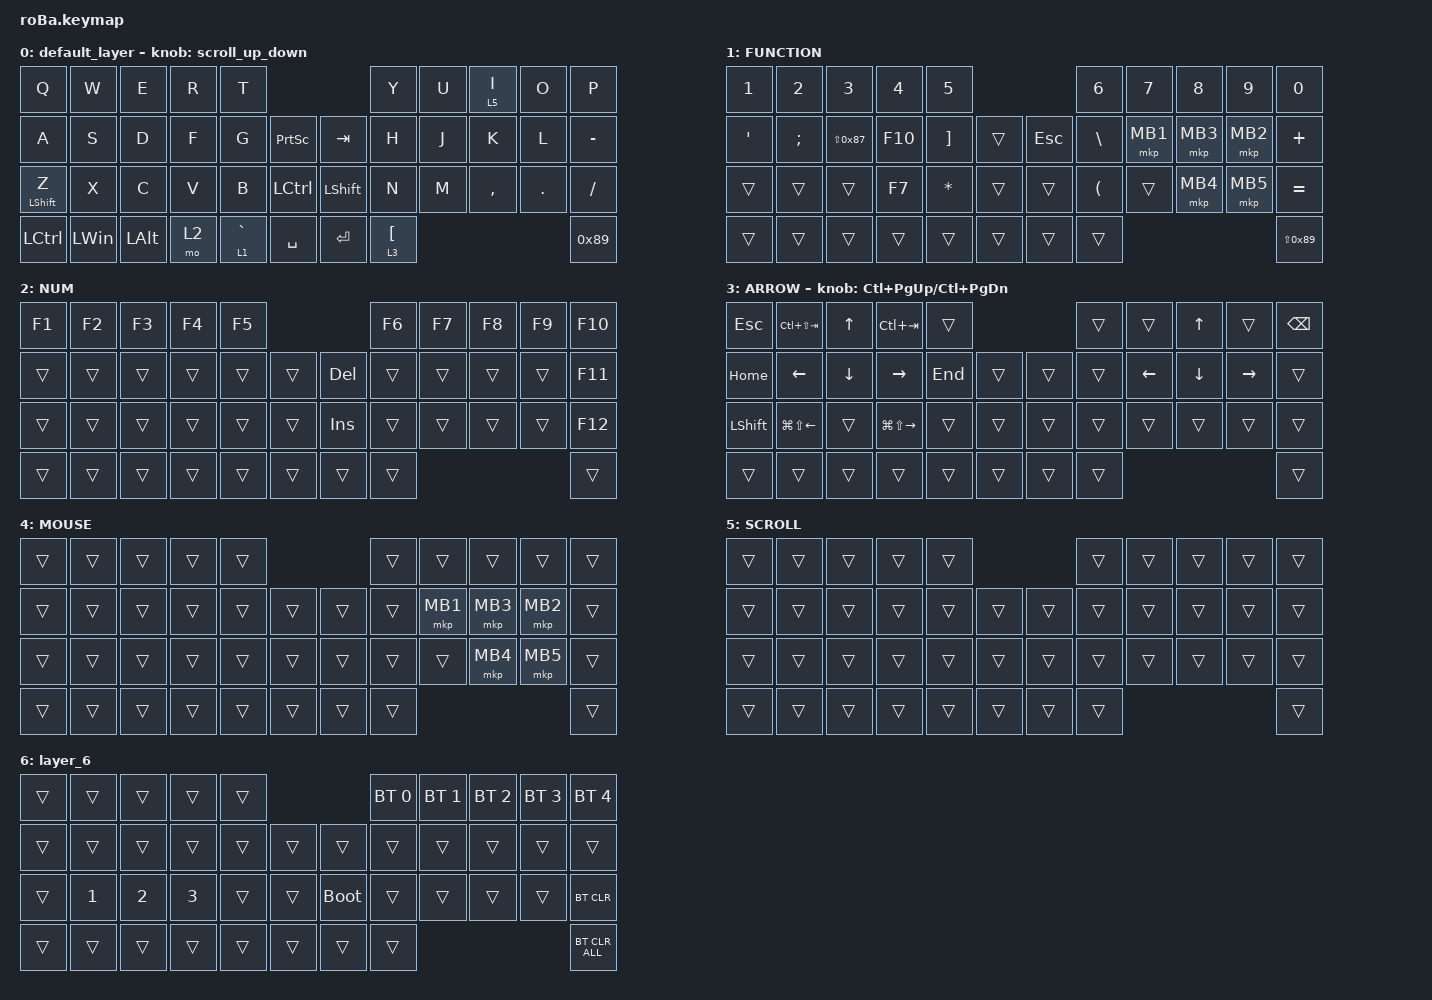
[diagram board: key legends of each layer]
#include <behaviors.dtsi>
#include <dt-bindings/zmk/bt.h>
#include <dt-bindings/zmk/keys.h>
#include <dt-bindings/zmk/pointing.h>

#define ZMK_MOUSE_POINTING_SCRL_VAL 100

&mt {
    flavor = "balanced";
    quick-tap-ms = <0>;
};

&trackball {
    automouse-layer = <4>;
    scroll-layers = <5>;

    // arrows {
    //     layers = <3>;
    //     bindings =
    //         <&kp RIGHT_ARROW>,
    //         <&kp LEFT_ARROW>,
    //         <&kp UP_ARROW>,
    //         <&kp DOWN_ARROW>;
    //     tick = <10>;
    //     wait-ms = <5>;
    //     tap-ms = <5>;
    // };
};

/ {
    combos {
        compatible = "zmk,combos";

        tab {
            bindings = <&kp TAB>;
            key-positions = <11 12>;
        };

        shift_tab {
            bindings = <&kp LS(TAB)>;
            key-positions = <12 13>;
        };

        muhennkann {
            bindings = <&to_layer_0 INT_MUHENKAN>;
            key-positions = <11 10>;
        };

        double_quotation {
            bindings = <&kp DOUBLE_QUOTES>;
            key-positions = <20 21>;
        };

        eq {
            bindings = <&kp EQUAL>;
            key-positions = <24 25>;
        };
    };

    macros {
        to_layer_0: to_layer_0 {
            compatible = "zmk,behavior-macro-one-param";
            #binding-cells = <1>;
            bindings = <&to 0 &macro_param_1to1 &kp MACRO_PLACEHOLDER>;
            label = "TO_LAYER_0";
        };
    };

    behaviors {
        lt_to_layer_0: lt_to_layer_0 {
            compatible = "zmk,behavior-hold-tap";
            label = "LAYER_TAP_TO_0";
            bindings = <&mo>, <&to_layer_0>;

            #binding-cells = <2>;
            tapping-term-ms = <200>;
        };

        scroll_up_down: behavior_sensor_rotate_mouse_wheel_up_down {
            compatible = "zmk,behavior-sensor-rotate";
            #sensor-binding-cells = <0>;
            bindings = <&msc SCRL_DOWN>, <&msc SCRL_UP>;

            tap-ms = <20>;
        };
    };

    keymap {
        compatible = "zmk,keymap";

        default_layer {
            bindings = <
&kp Q             &kp W         &kp E         &kp R  &kp T                                         &kp Y               &kp U  &lt 5 I    &kp O    &kp P
&kp A             &kp S         &kp D         &kp F  &kp G        &kp PRINTSCREEN      &kp TAB     &kp H               &kp J  &kp K      &kp L    &kp MINUS
&mt LEFT_SHIFT Z  &kp X         &kp C         &kp V  &kp B        &kp LCTRL            &kp LSHIFT  &kp N               &kp M  &kp COMMA  &kp DOT  &kp SLASH
&kp LCTRL         &kp LEFT_WIN  &kp LEFT_ALT  &mo 2  &lt 1 GRAVE  &kp SPACE            &kp ENTER   &lt 3 LEFT_BRACKET                             &kp 0x89
            >;

            sensor-bindings = <&scroll_up_down>;
        };

        FUNCTION {
            bindings = <
&kp NUMBER_1      &kp NUMBER_2   &kp NUMBER_3  &kp NUMBER_4  &kp NUMBER_5                               &kp NUMBER_6          &kp NUMBER_7  &kp NUMBER_8  &kp NUMBER_9  &kp NUMBER_0
&kp SINGLE_QUOTE  &kp SEMICOLON  &kp LS(0x87)  &kp F10       &kp RIGHT_BRACKET  &trans      &kp ESCAPE  &kp BACKSLASH         &mkp MB1      &mkp MB3      &mkp MB2      &kp PLUS
&trans            &trans         &trans        &kp F7        &kp ASTERISK       &trans      &trans      &kp LEFT_PARENTHESIS  &trans        &mkp MB4      &mkp MB5      &kp EQUAL
&trans            &trans         &trans        &trans        &trans             &trans      &trans      &trans                                                          &kp LS(0x89)
            >;
        };

        NUM {
            bindings = <
&kp F1  &kp F2  &kp F3  &kp F4  &kp F5                       &kp F6  &kp F7  &kp F8  &kp F9  &kp F10
&trans  &trans  &trans  &trans  &trans  &trans      &kp DEL  &trans  &trans  &trans  &trans  &kp F11
&trans  &trans  &trans  &trans  &trans  &trans      &kp INS  &trans  &trans  &trans  &trans  &kp F12
&trans  &trans  &trans  &trans  &trans  &trans      &trans   &trans                          &trans
            >;
        };

        ARROW {
            bindings = <
&kp ESCAPE      &kp LC(LS(TAB))         &kp UP_ARROW    &kp LC(TAB)              &trans                       &trans  &trans    &kp UP_ARROW    &trans     &kp BACKSPACE
&kp HOME        &kp LEFT_ARROW          &kp DOWN_ARROW  &kp RIGHT_ARROW          &kp END  &trans      &trans  &trans  &kp LEFT  &kp DOWN_ARROW  &kp RIGHT  &trans
&kp LEFT_SHIFT  &kp LG(LS(LEFT_ARROW))  &trans          &kp LG(LS(RIGHT_ARROW))  &trans   &trans      &trans  &trans  &trans    &trans          &trans     &trans
&trans          &trans                  &trans          &trans                   &trans   &trans      &trans  &trans                                       &trans
            >;

            sensor-bindings = <&inc_dec_kp LC(PAGE_UP) LC(PAGE_DOWN)>;
        };

        MOUSE {
            bindings = <
&trans  &trans  &trans  &trans  &trans                      &trans  &trans    &trans    &trans    &trans
&trans  &trans  &trans  &trans  &trans  &trans      &trans  &trans  &mkp MB1  &mkp MB3  &mkp MB2  &trans
&trans  &trans  &trans  &trans  &trans  &trans      &trans  &trans  &trans    &mkp MB4  &mkp MB5  &trans
&trans  &trans  &trans  &trans  &trans  &trans      &trans  &trans                                &trans
            >;
        };

        SCROLL {
            bindings = <
&trans  &trans  &trans  &trans  &trans                      &trans  &trans  &trans  &trans  &trans
&trans  &trans  &trans  &trans  &trans  &trans      &trans  &trans  &trans  &trans  &trans  &trans
&trans  &trans  &trans  &trans  &trans  &trans      &trans  &trans  &trans  &trans  &trans  &trans
&trans  &trans  &trans  &trans  &trans  &trans      &trans  &trans                          &trans
            >;
        };

        layer_6 {
            bindings = <
&trans  &trans        &trans        &trans        &trans                           &bt BT_SEL 0  &bt BT_SEL 1  &bt BT_SEL 2  &bt BT_SEL 3  &bt BT_SEL 4
&trans  &trans        &trans        &trans        &trans  &trans      &trans       &trans        &trans        &trans        &trans        &trans
&trans  &kp NUMBER_1  &kp NUMBER_2  &kp NUMBER_3  &trans  &trans      &bootloader  &trans        &trans        &trans        &trans        &bt BT_CLR
&trans  &trans        &trans        &trans        &trans  &trans      &trans       &trans                                                  &bt BT_CLR_ALL
            >;
        };
    };
};
